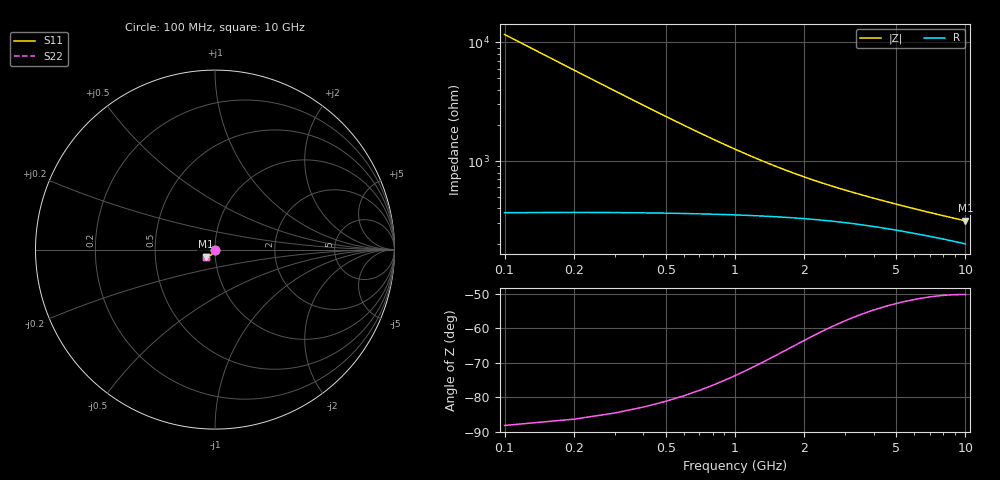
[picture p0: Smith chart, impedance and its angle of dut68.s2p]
! Touchstone file exported from HFSS 2024.1.0
!  File:  C:/UserFiles/LocalFiles/RDL_TSV_Batchsim/temp_TSV1_68_1778749958.aedt
!  Generated:  05:17:18 PM May 14, 2026
!  Design:  TSV1
!  Project:  temp_TSV1_68_1778749958
!  Setup:  Setup1
!  Solution:  Sweep
! Variables:
!  dtsv = 22um
!  hbump = 3um
!  htsv = 50.88um
!  lrdl = 252.1521522um
!  p = 40
!  p1 = 53.83um
!  t = 500um
!  trdl = 3um
!  wrdl = 24.89489489um
# GHz S MA R 50.000000
! Terminal data exported
! Port[1] = TSV22_T1
! Port[2] = TSV22_T2
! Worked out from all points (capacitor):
!   100 points, 100 MHz to 10 GHz, reference 50 ohm
!   read as one part in shunt: C = 136 fF near 100 MHz
!   lowest |Z| = 313 ohm at 10 GHz (marker M1)
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0.1  0.001928 -90.2  0.9999 -0.1  0.9999 -0.1  0.001928 -90.2
! Gamma 0 0 0 0
! Port Impedance 50 0 50 0
0.2  0.003848 -93.1  0.9996 -0.3  0.9996 -0.3  0.003848 -93.1
0.3  0.005751 -95.4  0.9993 -0.4  0.9993 -0.4  0.005751 -95.4
0.4  0.007628 -97.5  0.9988 -0.5  0.9988 -0.5  0.007628 -97.5
0.5  0.00947 -99.5  0.9982 -0.7  0.9982 -0.7  0.00947 -99.5
0.6  0.01127 -101.4  0.9975 -0.8  0.9975 -0.8  0.01127 -101.4
0.7  0.01302 -103.2  0.9967 -0.9  0.9967 -0.9  0.01302 -103.2
0.8  0.01471 -104.9  0.9959 -1.0  0.9959 -1.0  0.01471 -104.9
0.9  0.01634 -106.6  0.995 -1.1  0.995 -1.1  0.01634 -106.6
1.1  0.01942 -109.7  0.9931 -1.3  0.9931 -1.3  0.01942 -109.7
1.4  0.02358 -114.0  0.9901 -1.5  0.9901 -1.5  0.02358 -114.0
1.6  0.02605 -116.4  0.9882 -1.7  0.9882 -1.7  0.02605 -116.4
1.8  0.0283 -118.6  0.9862 -1.8  0.9862 -1.8  0.0283 -118.6
2.1  0.03133 -121.5  0.9835 -2.0  0.9835 -2.0  0.03133 -121.5
2.5  0.03482 -124.7  0.9801 -2.2  0.9801 -2.2  0.03482 -124.7
2.9  0.03782 -127.3  0.977 -2.3  0.977 -2.3  0.03782 -127.3
3.4  0.04107 -129.9  0.9736 -2.5  0.9736 -2.5  0.04107 -129.9
4.2  0.04546 -133.0  0.9691 -2.8  0.9691 -2.8  0.04546 -133.0
5.1  0.04959 -135.5  0.9647 -3.1  0.9647 -3.1  0.04959 -135.5
6.7  0.05549 -138.7  0.9586 -3.5  0.9586 -3.5  0.05549 -138.7
8.4  0.06039 -140.9  0.9535 -3.9  0.9535 -3.9  0.06039 -140.9
10  0.06414 -142.4  0.9498 -4.3  0.9498 -4.3  0.06414 -142.4
